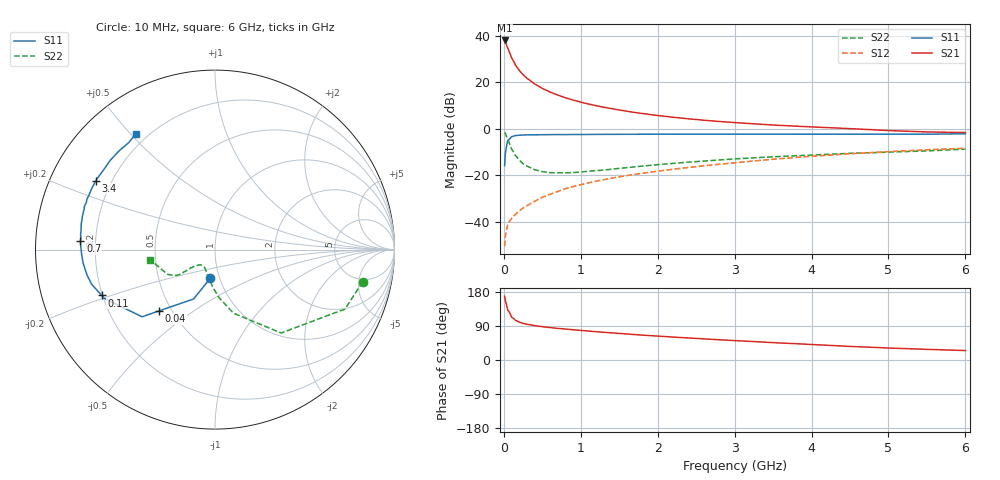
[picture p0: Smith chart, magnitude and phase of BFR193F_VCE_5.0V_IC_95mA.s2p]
! Infineon Technologies  Discrete & RF Semiconductors
! BFR193F
! VCE =  5.0 V,  IC =  95 mA
! Common Emitter S-Parameters:  Jan 2017
# GHz  S  MA  R  50
!  f  S11  S21  S12  S22
! GHz  MAG  ANG  MAG  ANG  MAG  ANG  MAG  ANG
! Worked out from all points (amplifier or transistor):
!   77 points, 10 MHz to 6 GHz, reference 50 ohm
!   highest |S21| = 38.0 dB at 10 MHz (marker M1)
!   |S21| within 3 dB of that: start of sweep to 47.34 MHz
!   unconditionally stable (mu >= 1): 462.1 MHz to 2.742 GHz
!   at 130 MHz: K = 0.66, MSG = 33.1 dB, |S12| = -37.5 dB
!   at 2.2 GHz: K = 1.03, MAG = 10.1 dB, |S12| = -17.4 dB
!   at 6 GHz: K = 0.87, MSG = 3.4 dB, |S12| = -8.4 dB
!   S11 on the Smith chart (normalised r, x): 10 MHz: 0.90, -0.30; 40 MHz: 0.43, -0.37; 110 MHz: 0.20, -0.19; 700 MHz: 0.14, +0.03; 3.4 GHz: 0.14, +0.26; 6 GHz: 0.16, +0.52
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0.01  0.1613 -99.2  79.08 167.9  0.003 84.1  0.8426 -12.3
0.02  0.2995 -113.4  74.38 156.1  0.0049 72.3  0.7961 -24.6
0.04  0.4612 -132.3  59.89 141.6  0.0074 59.6  0.6432 -40.8
0.05  0.5522 -137.3  54.63 131.8  0.0088 56.1  0.5931 -51.6
0.1  0.6747 -156.3  33.6 113.1  0.0118 51.4  0.3694 -73.7
0.11  0.6815 -158.0  31.55 111.9  0.0123 52.1  0.3481 -75.5
0.15  0.7145 -164.4  23.56 104.8  0.0144 54.2  0.2675 -85.4
0.2  0.7271 -168.9  17.99 99.9  0.0171 59.5  0.2139 -92.6
0.25  0.734 -172.3  14.5 96.7  0.0198 61.8  0.1775 -99.0
0.3  0.7389 -174.4  12.17 94.3  0.0222 64.1  0.158 -103.8
0.4  0.7434 -177.7  9.172 90.6  0.0275 68.2  0.1322 -111.5
0.5  0.7459 -179.9  7.376 87.9  0.0338 70.8  0.1197 -117.3
0.7  0.7512 176.3  5.305 83.4  0.0449 74.2  0.1132 -125.7
0.9  0.7538 173.5  4.147 79.8  0.0573 76.0  0.1147 -131.9
1.1  0.7554 171.1  3.41 76.4  0.0688 76.7  0.1228 -135.1
1.5  0.7604 166.7  2.533 70.2  0.0926 77.2  0.1413 -139.9
2.1  0.7652 161.0  1.849 61.9  0.1288 76.5  0.1748 -143.1
3.1  0.7665 152.5  1.327 50.2  0.1924 74.2  0.2299 -144.2
3.4  0.7665 149.9  1.233 47.0  0.2141 73.0  0.245 -145.1
4.1  0.7635 143.4  1.079 39.9  0.2631 69.5  0.277 -148.8
5.1  0.7663 133.1  0.903 30.9  0.3288 63.1  0.3188 -160.1
6  0.7813 124.5  0.831 25.0  0.3818 57.2  0.3653 -171.1
